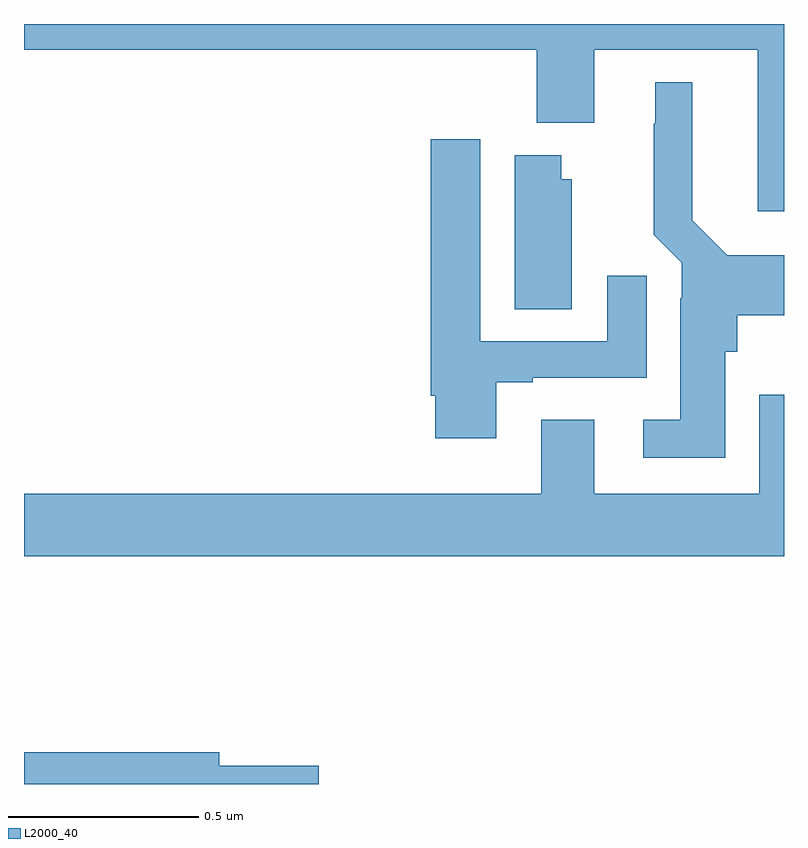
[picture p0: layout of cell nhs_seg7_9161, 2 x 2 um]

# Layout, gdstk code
import gdstk
lib = gdstk.Library(unit=1e-6, precision=1e-09)
def P(c, l, *ps):  # polygons
    for p in ps: c.add(gdstk.Polygon(p, *l))
L2000_40 = (2000, 40)

nhs_seg7_9161 = lib.new_cell('nhs_seg7_9161')
P(nhs_seg7_9161, L2000_40, [(236,1018),(234,1018),(234,1017.932),(235.349,1017.932),(235.349,1017.74),(235.501,1017.74),(235.501,1017.932),(235.931,1017.932),(235.931,1017.507),(236,1017.507)],
  [(235.846,1017.138),(235.877,1017.138),(235.877,1017.233),(236,1017.233),(236,1017.391),(235.851,1017.391),(235.759,1017.484),(235.759,1017.847),(235.661,1017.847),(235.661,1017.737),(235.657,1017.737),(235.657,1017.446),(235.731,1017.372),(235.731,1017.278),(235.727,1017.278),(235.727,1016.959),(235.629,1016.959),(235.629,1016.858),(235.846,1016.858)],
  [(235.243,1017.057),(235.339,1017.057),(235.339,1017.069),(235.639,1017.069),(235.639,1017.337),(235.535,1017.337),(235.535,1017.165),(235.201,1017.165),(235.201,1017.697),(235.07,1017.697),(235.07,1017.022),(235.082,1017.022),(235.082,1016.91),(235.243,1016.91)],
  [(235.441,1017.591),(235.414,1017.591),(235.414,1017.655),(235.292,1017.655),(235.292,1017.25),(235.441,1017.25)],
  [(236,1017.025),(235.935,1017.025),(235.935,1016.764),(235.501,1016.764),(235.501,1016.959),(235.361,1016.959),(235.361,1016.764),(234,1016.764),(234,1016.6),(236,1016.6)],
  [(234.775,1016.048),(234.514,1016.048),(234.514,1016.084),(234,1016.084),(234,1016),(234.775,1016)])

lib.write_gds('nhs_seg7_9161.gds')
